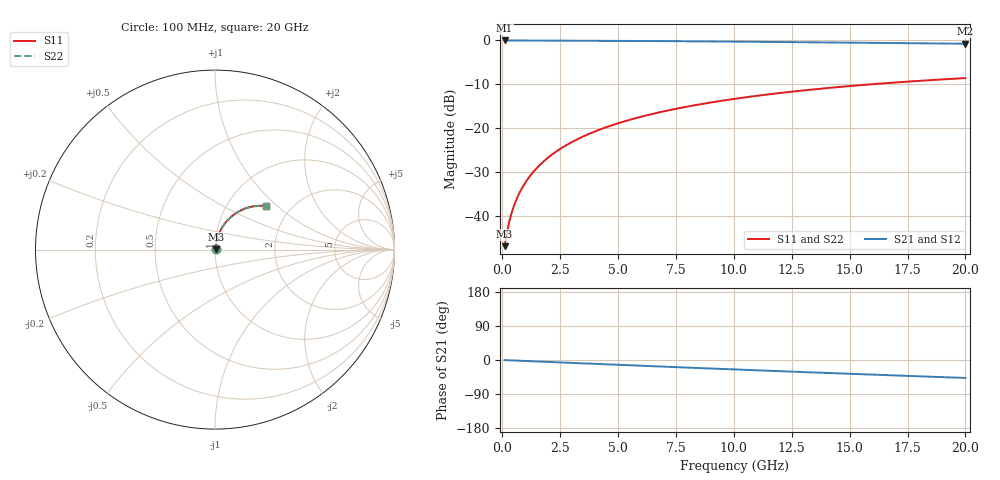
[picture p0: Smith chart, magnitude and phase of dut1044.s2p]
! Touchstone file exported from HFSS 2026.1.0
!  File:  C:/ffzhzh/LocalFiles/Ansys_Project_Files/temp_train_BSMRDL_1044_1783173814_55132.aedt
!  Generated:  10:04:45 PM Jul  4, 2026
!  Design:  BSMRDL
!  Project:  temp_train_BSMRDL_1044_1783173814_55132
! Variables:
!  h_bsmrdl = 3.53um
!  h_ox = 20um
!  h_rdl = 5um
!  h_sub = 80um
!  h_tmrdl = 5um
!  h_tsv = 80um
!  h_via = 3um
!  l_bsmrdl = 739.24um
!  l_sub = 1139.24um
!  l_tmrdl = 200um
!  m_sub = 200um
!  pitch = 40.92um
!  r_tsv = 6um
!  s_tmrdl = 10um
!  w_bsmrdl = 20.94um
!  w_sub = 500um
!  w_tmrdl = 12um
!  x_tsv_center1 = 206um
!  x_tsv_center2 = 966.18um
!  x_tsv_center3 = 1178.18um
!  x_tsv_center4 = 1938.36um
!  x_tsv_center5 = 2150.36um
!  x_tsv_center6 = 2910.54um
# GHz S MA R 50.000000
! Terminal data exported
! Port[1] = BSM_RDL1_1_T1
! Port[2] = BSM_RDL1_1_T2
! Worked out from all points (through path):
!   200 points, 100 MHz to 20 GHz, reference 50 ohm
!   highest |S21| = -0.03 dB at 100 MHz (marker M1); lowest = -0.8 dB at 20 GHz (marker M2)
!   group delay of S21, straight-line fit = 6.57 ps
!   lowest |S11| = -46.8 dB at 100 MHz (marker M3), VSWR 1.01, Z = 50.4 + j0.263 ohm
!   |S11| at or under -10 dB: start of sweep to 15.94 GHz
!   |S22| runs from -46.8 to -8.6 dB; largest |S21 - S12| = 7.2e-15
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0.1  0.004561 35.0  0.9963 -0.3  0.9963 -0.3  0.004561 35.0
! Gamma 0 0 0 0
! Port Impedance 50 0 50 0
0.2  0.006485 52.4  0.9961 -0.5  0.9961 -0.5  0.006485 52.4
0.3  0.008654 60.8  0.9958 -0.8  0.9958 -0.8  0.008654 60.8
0.4  0.01086 65.6  0.9956 -1.1  0.9956 -1.1  0.01086 65.6
0.5  0.01306 68.7  0.9955 -1.3  0.9955 -1.3  0.01306 68.7
0.6  0.01527 71.0  0.9953 -1.6  0.9953 -1.6  0.01527 71.0
0.8  0.01971 74.0  0.9951 -2.1  0.9951 -2.1  0.01971 74.0
1.1  0.02645 76.4  0.9948 -2.8  0.9948 -2.8  0.02645 76.4
1.3  0.03097 77.3  0.9946 -3.4  0.9946 -3.4  0.03097 77.3
1.6  0.03778 78.1  0.9942 -4.1  0.9942 -4.1  0.03778 78.1
2.1  0.04916 78.3  0.9935 -5.4  0.9935 -5.4  0.04916 78.3
2.7  0.06278 77.9  0.9924 -6.9  0.9924 -6.9  0.06278 77.9
3.5  0.08079 76.7  0.9907 -8.9  0.9907 -8.9  0.08079 76.7
4.2  0.09635 75.4  0.9888 -10.7  0.9888 -10.7  0.09635 75.4
5  0.1139 73.7  0.9864 -12.7  0.9864 -12.7  0.1139 73.7
5.9  0.1332 71.7  0.9833 -14.9  0.9833 -14.9  0.1332 71.7
6.8  0.1521 69.7  0.98 -17.1  0.98 -17.1  0.1521 69.7
8.3  0.1825 66.3  0.9738 -20.8  0.9738 -20.8  0.1825 66.3
10.1  0.2173 62.2  0.9656 -25.1  0.9656 -25.1  0.2173 62.2
13.4  0.2759 54.8  0.9493 -32.8  0.9493 -32.8  0.2759 54.8
16.7  0.3275 47.6  0.932 -40.2  0.932 -40.2  0.3275 47.6
20  0.3719 40.7  0.9149 -47.3  0.9149 -47.3  0.3719 40.7
